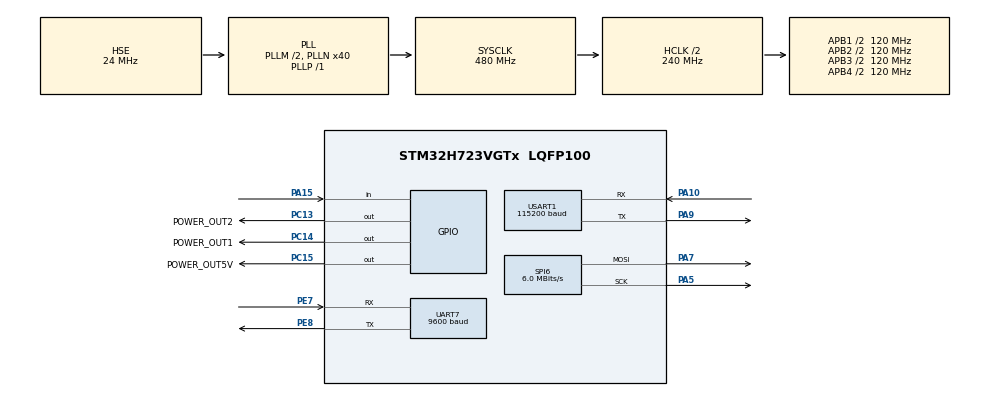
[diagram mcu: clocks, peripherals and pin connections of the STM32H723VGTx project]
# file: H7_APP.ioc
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FREERTOS.Tasks01=defaultTask,24,128,StartDefaultTask,Default,NULL,Static,defaultTaskBuffer,defaultTaskControlBlock;key_task,8,512,KeyTask_Entry,As weak,NULL,Static,key_taskBuffer,key_taskControlBlock;comm_task,8,512,CommTask_Entry,As weak,NULL,Static,comm_taskBuffer,comm_taskControlBlock
FREERTOS.configENABLE_FPU=1
Mcu.Family=STM32H7
Mcu.Name=STM32H723VGTx
Mcu.Package=LQFP100
NVIC.PriorityGroup=NVIC_PRIORITYGROUP_4
NVIC.TIM16_IRQn=true\:5\:0\:false\:false\:true\:true\:true\:true\:true
NVIC.TIM6_DAC_IRQn=true\:15\:0\:false\:false\:true\:false\:false\:true\:true
NVIC.TimeBase=TIM6_DAC_IRQn
NVIC.TimeBaseIP=TIM6
PA10.Mode=Asynchronous
PA10.Signal=USART1_RX
PA13(JTMS/SWDIO).Mode=Serial_Wire
PA13(JTMS/SWDIO).Signal=DEBUG_JTMS-SWDIO
PA14(JTCK/SWCLK).Mode=Serial_Wire
PA14(JTCK/SWCLK).Signal=DEBUG_JTCK-SWCLK
PA15(JTDI).Signal=GPIO_Input
PA5.GPIO_Speed=GPIO_SPEED_FREQ_VERY_HIGH
PA5.Mode=TX_Only_Simplex_Unidirect_Master
PA5.Signal=SPI6_SCK
PA7.GPIO_Speed=GPIO_SPEED_FREQ_VERY_HIGH
PA7.Mode=TX_Only_Simplex_Unidirect_Master
PA7.Signal=SPI6_MOSI
PA9.Mode=Asynchronous
PA9.Signal=USART1_TX
PC13.GPIO_Label=POWER_OUT2
PC13.PinState=GPIO_PIN_SET
PC13.Signal=GPIO_Output
PC14-OSC32_IN.GPIO_Label=POWER_OUT1
PC14-OSC32_IN.PinState=GPIO_PIN_SET
PC14-OSC32_IN.Signal=GPIO_Output
PC15-OSC32_OUT.GPIO_Label=POWER_OUT5V
PC15-OSC32_OUT.PinState=GPIO_PIN_SET
PC15-OSC32_OUT.Signal=GPIO_Output
PE7.Mode=Asynchronous
PE7.Signal=UART7_RX
PE8.Mode=Asynchronous
PE8.Signal=UART7_TX
PH0-OSC_IN.Mode=HSE-External-Oscillator
PH0-OSC_IN.Signal=RCC_OSC_IN
PH1-OSC_OUT.Mode=HSE-External-Oscillator
PH1-OSC_OUT.Signal=RCC_OSC_OUT
ProjectManager.HeapSize=0x2000
ProjectManager.StackSize=0x2000
ProjectManager.TargetToolchain=CMake
RCC.ADCFreq_Value=48375000
RCC.APB1Freq_Value=120000000
RCC.APB2Freq_Value=120000000
RCC.APB3Freq_Value=120000000
RCC.APB4Freq_Value=120000000
RCC.CortexFreq_Value=480000000
RCC.D1PPRE=RCC_APB3_DIV2
RCC.D2PPRE1=RCC_APB1_DIV2
RCC.D2PPRE2=RCC_APB2_DIV2
RCC.D3PPRE=RCC_APB4_DIV2
RCC.DIVM1=2
RCC.DIVN1=40
RCC.DIVP1=1
RCC.HCLKFreq_Value=240000000
RCC.HPRE=RCC_HCLK_DIV2
RCC.HSE_VALUE=24000000
RCC.PLLFRACN=0
RCC.PLLSourceVirtual=RCC_PLLSOURCE_HSE
RCC.SPI6CLockSelection=RCC_SPI6CLKSOURCE_HSE
RCC.SYSCLKFreq_VALUE=480000000
RCC.SYSCLKSource=RCC_SYSCLKSOURCE_PLLCLK
RCC.USBFreq_Value=240000000
SPI6.BaudRatePrescaler=SPI_BAUDRATEPRESCALER_4
SPI6.CLKPhase=SPI_PHASE_2EDGE
SPI6.CLKPolarity=SPI_POLARITY_LOW
SPI6.CalculateBaudRate=6.0 MBits/s
SPI6.DataSize=SPI_DATASIZE_8BIT
SPI6.Direction=SPI_DIRECTION_2LINES_TXONLY
SPI6.Mode=SPI_MODE_MASTER
SPI6.VirtualType=VM_MASTER
TIM16.AutoReloadPreload=TIM_AUTORELOAD_PRELOAD_ENABLE
TIM16.Period=99
TIM16.Prescaler=239
UART7.BaudRate=9600
USART1.BaudRate=115200
USART1.VirtualMode-Asynchronous=VM_ASYNC
VP_FREERTOS_VS_CMSIS_V2.Mode=CMSIS_V2
VP_MEMORYMAP_VS_MEMORYMAP.Mode=CurAppReg
VP_SYS_VS_tim6.Mode=TIM6
VP_TIM16_VS_ClockSourceINT.Mode=Enable_Timer
board=custom

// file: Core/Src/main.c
/* USER CODE BEGIN Header */
/**
 ******************************************************************************
 * @file           : main.c
 * @brief          : Main program body
 ******************************************************************************
 * @attention
 *
 * Copyright (c) 2025 STMicroelectronics.
 * All rights reserved.
 *
 * This software is licensed under terms that can be found in the LICENSE file
 * in the root directory of this software component.
 * If no LICENSE file comes with this software, it is provided AS-IS.
 *
 ******************************************************************************
 */
/* USER CODE END Header */
#include "main.h"
#include "cmsis_os.h"
#include "gpio.h"
#include "memorymap.h"
#include "spi.h"
#include "tim.h"
#include "usart.h"

/* USER CODE BEGIN Includes */
#include "SEGGER_SYSVIEW.h"
#include "common_include.h"

/* USER CODE END Includes */

void SystemClock_Config(void);
void MX_FREERTOS_Init(void);

int main(void) {

  /* MCU Configuration--------------------------------------------------------*/

  /* Reset of all peripherals, Initializes the Flash interface and the Systick.
   */
  HAL_Init();

  /* Configure the system clock */
  SystemClock_Config();

  /* Initialize all configured peripherals */
  MX_GPIO_Init();
  MX_SPI6_Init();
  MX_USART1_UART_Init();
  MX_TIM16_Init();
  MX_UART7_Init();
  /* USER CODE BEGIN 2 */
  HAL_TIM_Base_Start_IT(&htim16);
  SEGGER_SYSVIEW_Conf();
  /* USER CODE END 2 */

  /* Init scheduler */
  osKernelInitialize();

  /* Call init function for freertos objects (in cmsis_os2.c) */
  MX_FREERTOS_Init();

  /* Start scheduler */
  osKernelStart();

  /* We should never get here as control is now taken by the scheduler */

  /* Infinite loop */
  while (1) {

  }
}

void SystemClock_Config(void) {
  RCC_OscInitTypeDef RCC_OscInitStruct = {0};
  RCC_ClkInitTypeDef RCC_ClkInitStruct = {0};

  /** Supply configuration update enable
   */
  HAL_PWREx_ConfigSupply(PWR_LDO_SUPPLY);

  /** Configure the main internal regulator output voltage
   */
  __HAL_PWR_VOLTAGESCALING_CONFIG(PWR_REGULATOR_VOLTAGE_SCALE0);

  while (!__HAL_PWR_GET_FLAG(PWR_FLAG_VOSRDY)) {
  }

  /** Initializes the RCC Oscillators according to the specified parameters
   * in the RCC_OscInitTypeDef structure.
   */
  RCC_OscInitStruct.OscillatorType = RCC_OSCILLATORTYPE_HSE;
  RCC_OscInitStruct.HSEState = RCC_HSE_ON;
  RCC_OscInitStruct.PLL.PLLState = RCC_PLL_ON;
  RCC_OscInitStruct.PLL.PLLSource = RCC_PLLSOURCE_HSE;
  RCC_OscInitStruct.PLL.PLLM = 2;
  RCC_OscInitStruct.PLL.PLLN = 40;
  RCC_OscInitStruct.PLL.PLLP = 1;
  RCC_OscInitStruct.PLL.PLLQ = 2;
  RCC_OscInitStruct.PLL.PLLR = 2;
  RCC_OscInitStruct.PLL.PLLRGE = RCC_PLL1VCIRANGE_3;
  RCC_OscInitStruct.PLL.PLLVCOSEL = RCC_PLL1VCOWIDE;
  RCC_OscInitStruct.PLL.PLLFRACN = 0;
  if (HAL_RCC_OscConfig(&RCC_OscInitStruct) != HAL_OK) {
    Error_Handler();
  }

  /** Initializes the CPU, AHB and APB buses clocks
   */
  RCC_ClkInitStruct.ClockType = RCC_CLOCKTYPE_HCLK | RCC_CLOCKTYPE_SYSCLK |
                                RCC_CLOCKTYPE_PCLK1 | RCC_CLOCKTYPE_PCLK2 |
                                RCC_CLOCKTYPE_D3PCLK1 | RCC_CLOCKTYPE_D1PCLK1;
  RCC_ClkInitStruct.SYSCLKSource = RCC_SYSCLKSOURCE_PLLCLK;
  RCC_ClkInitStruct.SYSCLKDivider = RCC_SYSCLK_DIV1;
  RCC_ClkInitStruct.AHBCLKDivider = RCC_HCLK_DIV2;
  RCC_ClkInitStruct.APB3CLKDivider = RCC_APB3_DIV2;
  RCC_ClkInitStruct.APB1CLKDivider = RCC_APB1_DIV2;
  RCC_ClkInitStruct.APB2CLKDivider = RCC_APB2_DIV2;
  RCC_ClkInitStruct.APB4CLKDivider = RCC_APB4_DIV2;

  if (HAL_RCC_ClockConfig(&RCC_ClkInitStruct, FLASH_LATENCY_3) != HAL_OK) {
    Error_Handler();
  }
}

/* USER CODE BEGIN 4 */
int i = 0;
/* USER CODE END 4 */

void HAL_TIM_PeriodElapsedCallback(TIM_HandleTypeDef *htim) {
  if (htim->Instance == TIM6) {
    HAL_IncTick();
  }
  /* USER CODE BEGIN Callback 1 */
  if (htim->Instance == TIM16) {
    i++;
    if (i > 10000) {
      i = 0;
      // HAL_UART_Transmit(&huart1, (uint8_t *)"Hello World\r\n", 13, 1000);
      // HAL_UART_Transmit(&huart1, (uint8_t *)"1s from TIM16\r\n", 15, 1000);
    }
  }
  /* USER CODE END Callback 1 */
}

void Error_Handler(void) {
  __disable_irq();
  while (1) {
  }
}

#ifdef USE_FULL_ASSERT
/**
 * @brief  Reports the name of the source file and the source line number
 *         where the assert_param error has occurred.
 * @param  file: pointer to the source file name
 * @param  line: assert_param error line source number
 * @retval None
 */
void assert_failed(uint8_t *file, uint32_t line) {
  /* USER CODE BEGIN 6 */
  /* User can add his own implementation to report the file name and line
     number, ex: printf("Wrong parameters value: file %s on line %d\r\n", file,
     line) */
  /* USER CODE END 6 */
}
#endif /* USE_FULL_ASSERT */

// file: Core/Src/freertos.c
/* USER CODE BEGIN Header */
/**
 ******************************************************************************
 * File Name          : freertos.c
 * Description        : Code for freertos applications
 ******************************************************************************
 * @attention
 *
 * Copyright (c) 2025 STMicroelectronics.
 * All rights reserved.
 *
 * This software is licensed under terms that can be found in the LICENSE file
 * in the root directory of this software component.
 * If no LICENSE file comes with this software, it is provided AS-IS.
 *
 ******************************************************************************
 */
/* USER CODE END Header */

#include "FreeRTOS.h"
#include "cmsis_os.h"
#include "main.h"
#include "task.h"

/* USER CODE BEGIN Includes */
#include "Debug_printf.h"
#include "bsp_led_driver.h"
#include "ws2812.h"
#include <stdint.h>

/* USER CODE END Includes */

typedef StaticTask_t osStaticThreadDef_t;

/* Definitions for defaultTask */
osThreadId_t defaultTaskHandle;
uint32_t defaultTaskBuffer[128];
osStaticThreadDef_t defaultTaskControlBlock;
const osThreadAttr_t defaultTask_attributes = {
    .name = "defaultTask",
    .cb_mem = &defaultTaskControlBlock,
    .cb_size = sizeof(defaultTaskControlBlock),
    .stack_mem = &defaultTaskBuffer[0],
    .stack_size = sizeof(defaultTaskBuffer),
    .priority = (osPriority_t)osPriorityNormal,
};
/* Definitions for key_task */
osThreadId_t key_taskHandle;
uint32_t key_taskBuffer[512];
osStaticThreadDef_t key_taskControlBlock;
const osThreadAttr_t key_task_attributes = {
    .name = "key_task",
    .cb_mem = &key_taskControlBlock,
    .cb_size = sizeof(key_taskControlBlock),
    .stack_mem = &key_taskBuffer[0],
    .stack_size = sizeof(key_taskBuffer),
    .priority = (osPriority_t)osPriorityLow,
};
/* Definitions for comm_task */
osThreadId_t comm_taskHandle;
uint32_t comm_taskBuffer[512];
osStaticThreadDef_t comm_taskControlBlock;
const osThreadAttr_t comm_task_attributes = {
    .name = "comm_task",
    .cb_mem = &comm_taskControlBlock,
    .cb_size = sizeof(comm_taskControlBlock),
    .stack_mem = &comm_taskBuffer[0],
    .stack_size = sizeof(comm_taskBuffer),
    .priority = (osPriority_t)osPriorityLow,
};

void StartDefaultTask(void *argument);
void KeyTask_Entry(void *argument);
void CommTask_Entry(void *argument);

void MX_FREERTOS_Init(void); /* (MISRA C 2004 rule 8.1) */

void MX_FREERTOS_Init(void) {

  /* Create the thread(s) */
  /* creation of defaultTask */
  defaultTaskHandle =
      osThreadNew(StartDefaultTask, NULL, &defaultTask_attributes);

  /* creation of key_task */
  key_taskHandle = osThreadNew(KeyTask_Entry, NULL, &key_task_attributes);

  /* creation of comm_task */
  comm_taskHandle = osThreadNew(CommTask_Entry, NULL, &comm_task_attributes);

}

/* USER CODE BEGIN Header_StartDefaultTask */
/**
 * @brief  Function implementing the defaultTask thread.
 * @param  argument: Not used
 * @retval None
 */

typedef struct {
  uint8_t r;
  uint8_t g;
  uint8_t b;
} rgb_t;

void led_rgb_cycle_blink(void) {
  static uint32_t blink = 0;
  static uint8_t color_index = 0;
  static const rgb_t colors[3] = {
      {2, 0, 0}, // 红
      {0, 2, 0}, // 绿
      {0, 0, 2}  // 蓝
  };

  blink++;

  if (blink > 333) {
    rgb_t current = colors[color_index];
    WS2812_Ctrl(current.r, current.g, current.b);

    color_index = (color_index + 1) % 3; // 循环切换颜色
    blink = 0;
  }
}
/* USER CODE END Header_StartDefaultTask */
void StartDefaultTask(void *argument) {
  /* USER CODE BEGIN StartDefaultTask */

  test_led_driver();
  bsp_led_driver_t led_driver_inst;
  /* Infinite loop */
  for (;;) {
    led_rgb_cycle_blink();
    osDelay(1);
  }
  /* USER CODE END StartDefaultTask */
}

__weak void KeyTask_Entry(void *argument) {
  /* USER CODE BEGIN KeyTask_Entry */
  DEBUG_PRINTF("Key Task Start week...\r\n");
  /* Infinite loop */
  for (;;) {
    osDelay(1);
  }
  /* USER CODE END KeyTask_Entry */
}

__weak void CommTask_Entry(void *argument) {
  /* USER CODE BEGIN CommTask_Entry */
  DEBUG_PRINTF("Comm Task Start week...\r\n");
  /* Infinite loop */
  for (;;) {
    osDelay(1);
  }
  /* USER CODE END CommTask_Entry */
}
